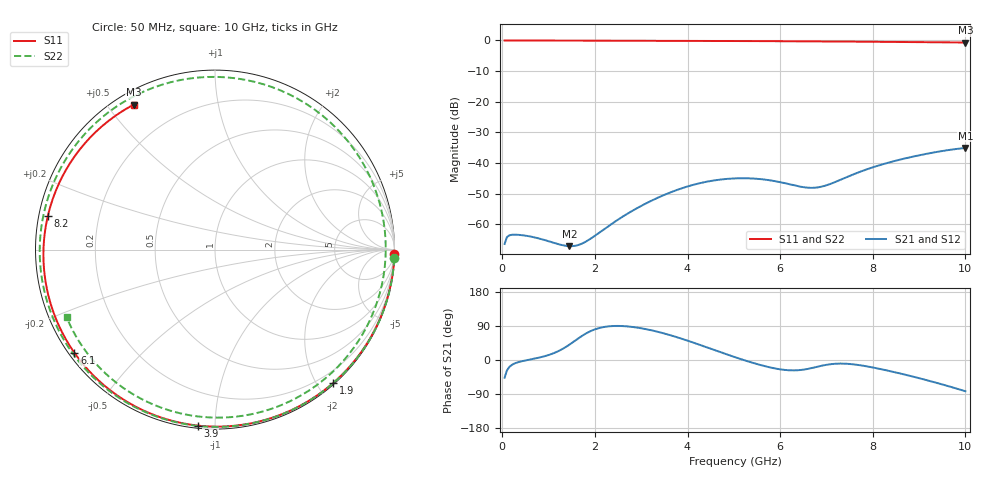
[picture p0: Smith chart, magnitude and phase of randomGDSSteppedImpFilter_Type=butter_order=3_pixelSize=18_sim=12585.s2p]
! freq	dB(S11)	phase(S11)	dB(S12)	phase(S12)
!  dB(S21)	phase(S21)	dB(S22)	phase(S22)
!S-par simulation data
#  GHz  S  DB  R 50
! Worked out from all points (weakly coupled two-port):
!   200 points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, 50 MHz to 10 GHz, reference 50 ohm
!   highest |S21| = -35.04 dB at 10 GHz (marker M1); lowest = -67.1 dB at 1.45 GHz (marker M2)
!   lowest |S11| = -0.7 dB at 10 GHz (marker M3), VSWR 25.99, Z = 2.58 + j29.2 ohm
!   |S11| at or under -10 dB: nowhere
!   |S22| runs from -0.8 to 0.0 dB; largest |S21 - S12| = 0
!   S11 on the Smith chart (normalised r, x): 50 MHz: 0, -87; 1.9 GHz: 0.02, -2.22; 3.9 GHz: 0.01, -0.91; 6.1 GHz: 0.02, -0.33; 8.2 GHz: 0.03, +0.10; 10 GHz: 0.05, +0.58
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0.05  -0.00 -1.3  -66.33 -46.8  -66.33 -46.8  -0.00 -2.8
0.1  -0.00 -2.6  -64.11 -27.5  -64.11 -27.5  -0.00 -5.6
0.3  -0.01 -7.9  -63.33 -7.5  -63.33 -7.5  -0.01 -16.7
0.9  -0.03 -23.4  -65.01 9.5  -65.01 9.5  -0.05 -49.5
1.45  -0.05 -37.3  -67.07 40.6  -67.07 40.6  -0.09 -78.2
1.75  -0.06 -44.8  -66.02 65.9  -66.02 65.9  -0.11 -93.2
1.9  -0.06 -48.6  -64.70 75.9  -64.70 75.9  -0.12 -100.7
2.7  -0.09 -67.9  -56.51 88.7  -56.51 88.7  -0.16 -139.1
3.4  -0.11 -84.3  -51.00 73.1  -51.00 73.1  -0.20 -172.6
3.9  -0.13 -95.7  -48.08 55.1  -48.08 55.1  -0.23 162.6
4.45  -0.15 -107.9  -45.95 32.0  -45.95 32.0  -0.27 133.5
5.05  -0.18 -121.0  -44.96 6.4  -44.96 6.4  -0.32 98.7
5.55  -0.21 -131.8  -45.17 -12.4  -45.17 -12.4  -0.36 67.5
6.1  -0.25 -143.7  -46.53 -26.2  -46.53 -26.2  -0.40 32.0
6.4  -0.27 -150.2  -47.56 -26.9  -47.56 -26.9  -0.42 12.7
6.7  -0.30 -156.8  -48.05 -20.8  -48.05 -20.8  -0.44 -6.0
7.05  -0.33 -164.6  -46.97 -11.7  -46.97 -11.7  -0.46 -26.7
7.45  -0.37 -173.7  -44.48 -10.0  -44.48 -10.0  -0.49 -48.6
8.2  -0.45 168.5  -40.43 -24.7  -40.43 -24.7  -0.56 -84.9
8.35  -0.46 164.8  -39.79 -28.7  -39.79 -28.7  -0.58 -91.4
9.1  -0.55 145.2  -37.14 -51.1  -37.14 -51.1  -0.68 -121.9
10  -0.67 119.3  -35.04 -82.4  -35.04 -82.4  -0.83 -155.5
